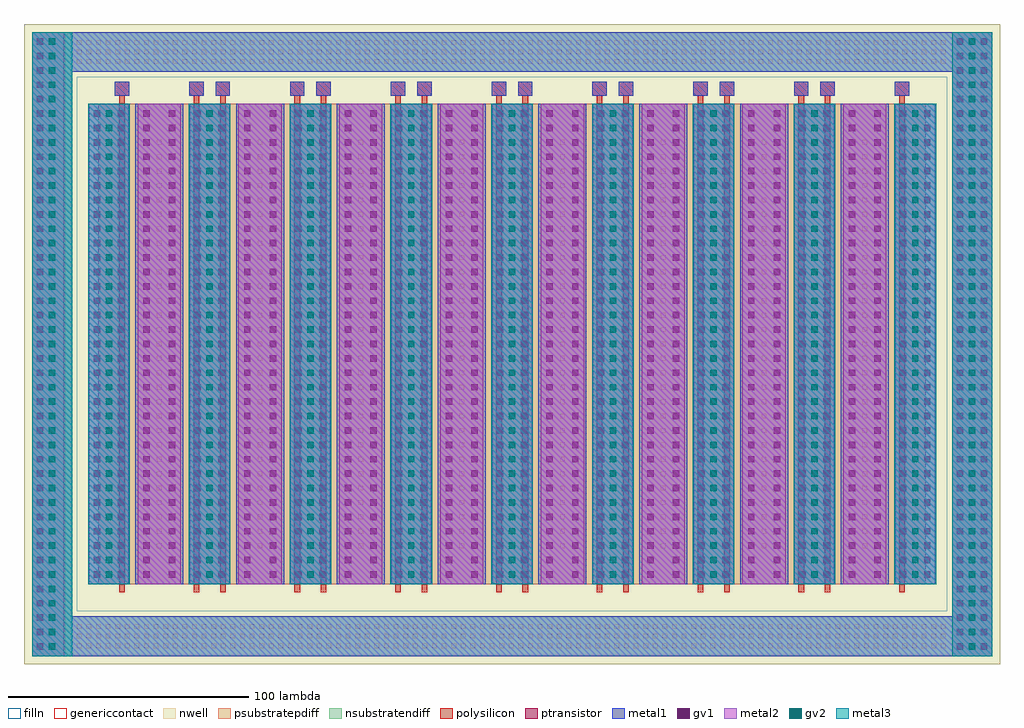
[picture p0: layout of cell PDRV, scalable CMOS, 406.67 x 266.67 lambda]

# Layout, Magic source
magic
tech scmos
magscale 1 3
<< nwell >>
rect -10 -10 1210 790
<< nsubstratendiff >>
rect 0 730 1200 780
rect 0 50 50 730
rect 1150 50 1200 730
rect 0 0 1200 50
<< metal1 >>
rect 0 730 1200 780
rect 0 50 50 730
rect 1150 50 1200 730
rect 0 0 1200 50
<< metal2 >>
rect 0 0 40 780
rect 1150 0 1200 780
<< metal3 >>
rect 0 0 50 780
rect 1150 0 1200 780
<< filln >>
rect 56 56 1144 724
use CONT  CONT_0
array 0 0 0 0 42 18
transform 1 0 1175 0 1 12
box -3 -3 3 3
use CONT  CONT_1
array 0 90 12 0 2 12
transform 1 0 59 0 1 743
box -3 -3 3 3
use CONT  CONT_2
array 0 0 0 0 42 18
transform 1 0 25 0 1 12
box -3 -3 3 3
use CONT  CONT_3
array 0 90 12 0 2 12
transform 1 0 59 0 1 13
box -3 -3 3 3
use PLEAF  PLEAF_0
array 0 7 126 0 0 0
transform 1 0 83 0 1 90
box -13 -10 165 628
use VIA1  VIA1_0
array 0 1 30 0 42 18
transform 1 0 1160 0 1 12
box -4 -4 4 4
use VIA1  VIA1_1
array 0 0 0 0 42 18
transform 1 0 10 0 1 12
box -4 -4 4 4
use VIA2  VIA2_0
array 0 0 0 0 42 18
transform 1 0 1175 0 1 12
box -4 -4 4 4
use VIA2  VIA2_1
array 0 0 0 0 42 18
transform 1 0 25 0 1 12
box -4 -4 4 4
<< end >>

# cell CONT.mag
magic
tech scmos
<< genericcontact >>
rect -1 -1 1 1
<< end >>

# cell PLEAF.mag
magic
tech scmos
magscale 1 6
<< ptransistor >>
rect 52 0 66 1200
rect 238 0 252 1200
<< psubstratepdiff >>
rect 0 0 52 1200
rect 66 0 238 1200
rect 252 0 304 1200
<< polysilicon >>
rect 41 1220 77 1256
rect 227 1220 263 1256
rect 52 1200 66 1220
rect 238 1200 252 1220
rect 52 -20 66 0
rect 238 -20 252 0
<< metal1 >>
rect 41 1220 77 1256
rect 227 1220 263 1256
rect -24 0 76 1200
rect 92 0 212 1200
rect 228 0 328 1200
<< metal2 >>
rect -26 0 78 1200
rect 98 0 206 1200
rect 226 0 330 1200
<< metal3 >>
rect -26 0 78 1200
rect 226 0 330 1200
use CONT  CONT_0
transform 1 0 245 0 1 1238
box -6 -6 6 6
use CONT  CONT_1
transform 1 0 59 0 1 1238
box -6 -6 6 6
use CONT  CONT_2
array 0 0 0 0 28 36
transform 1 0 278 0 1 96
box -6 -6 6 6
use CONT  CONT_3
array 0 0 0 0 28 36
transform 1 0 26 0 1 96
box -6 -6 6 6
use CONT  CONT_4
array 0 0 0 0 28 36
transform 1 0 152 0 1 96
box -6 -6 6 6
use VIA1  VIA1_0
array 0 1 64 0 32 36
transform 1 0 120 0 1 24
box -8 -8 8 8
use VIA1  VIA1_1
array 0 1 60 0 32 36
transform 1 0 248 0 1 24
box -8 -8 8 8
use VIA1  VIA1_2
array 0 1 60 0 32 36
transform 1 0 -4 0 1 24
box -8 -8 8 8
use VIA2  VIA2_0
array 0 0 0 0 32 36
transform 1 0 278 0 1 24
box -8 -8 8 8
use VIA2  VIA2_1
array 0 0 0 0 32 36
transform 1 0 26 0 1 24
box -8 -8 8 8
<< end >>

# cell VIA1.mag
magic
tech scmos
magscale 1 3
<< gv1 >>
rect -4 -4 4 4
<< end >>

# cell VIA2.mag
magic
tech scmos
magscale 1 3
<< gv2 >>
rect -4 -4 4 4
<< end >>
